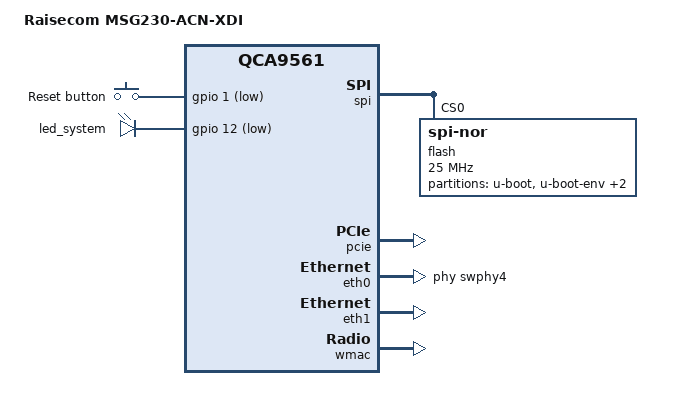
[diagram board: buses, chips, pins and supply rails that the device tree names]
// SPDX-License-Identifier: GPL-2.0-or-later OR MIT

#include "qca953x.dtsi"

#include <dt-bindings/gpio/gpio.h>
#include <dt-bindings/input/input.h>

/ {
	compatible = "raisecom,msg230-acn-xdi", "qca,qca9561";
	model = "Raisecom MSG230-ACN-XDI";

	aliases {
		led-boot = &led_system;
		led-failsafe = &led_system;
		led-running = &led_system;
		led-upgrade = &led_system;
	};

	keys {
		compatible = "gpio-keys";

		reset {
			label = "Reset button";
			linux,code = <KEY_RESTART>;
			gpios = <&gpio 1 GPIO_ACTIVE_LOW>;
		};
	};

	leds {
		compatible = "gpio-leds";

		led_system: power {
			label = "led_system";
			gpios = <&gpio 12 GPIO_ACTIVE_LOW>;
			default-state = "on";
		};
	};
};

&spi {
	status = "okay";

	flash@0 {
		compatible = "jedec,spi-nor";
		reg = <0>;
		spi-max-frequency = <25000000>;

		partitions {
			compatible = "fixed-partitions";
			#address-cells = <1>;
			#size-cells = <1>;

			partition@0 {
				label = "u-boot";
				reg = <0x000000 0x040000>;
				read-only;
			};

			partition@40000 {
				label = "u-boot-env";
				reg = <0x040000 0x010000>;
			};

			nor_firmware: partition@50000 {
				label = "nor_firmware";
				reg = <0x050000 0xfa0000>;
			};

			art: partition@ff0000 {
				label = "art";
				reg = <0xff0000 0x010000>;
				read-only;
			};
		};
	};
};

&pcie {
	status = "okay";
};

&eth0 {
	status = "okay";

	phy-handle = <&swphy4>;

	nvmem-cells = <&macaddr_info_8>;
	nvmem-cell-names = "mac-address";
};

&eth1 {
	status = "okay";

	nvmem-cells = <&macaddr_info_8>;
	nvmem-cell-names = "mac-address";
	mac-address-increment = <1>;
};

&wmac {
	status = "okay";

	mtd-cal-data = <&art 0x1000>;
	nvmem-cells = <&macaddr_info_8>;
	nvmem-cell-names = "mac-address";
};

&info {
	compatible = "nvmem-cells";
	#address-cells = <1>;
	#size-cells = <1>;

	macaddr_info_8: macaddr@8 {
		reg = <0x8 0x6>;
	};
};
